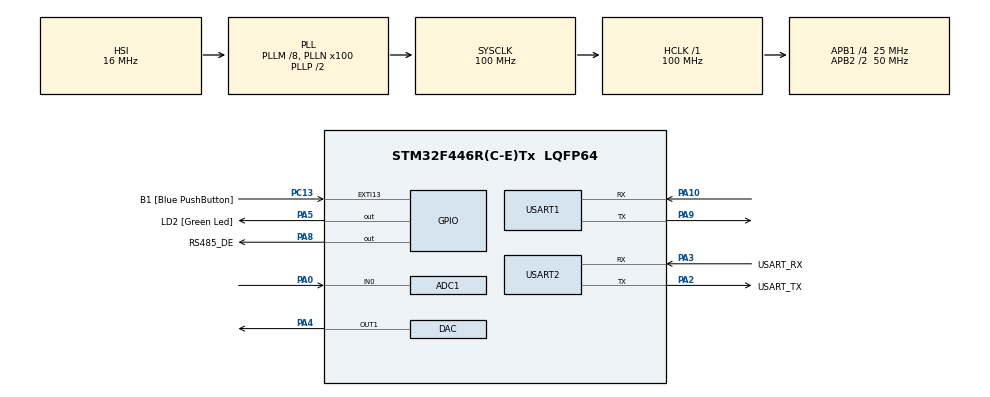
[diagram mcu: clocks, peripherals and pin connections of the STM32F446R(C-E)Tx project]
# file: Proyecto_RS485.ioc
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ADC1.Channel-0\#ChannelRegularConversion=ADC_CHANNEL_0
ADC1.NbrOfConversionFlag=1
ADC1.Rank-0\#ChannelRegularConversion=1
ADC1.SamplingTime-0\#ChannelRegularConversion=ADC_SAMPLETIME_3CYCLES
ADC1.master=1
DAC.DAC_Trigger=DAC_TRIGGER_T2_TRGO
Dma.DAC1.0.Direction=DMA_MEMORY_TO_PERIPH
Dma.DAC1.0.FIFOMode=DMA_FIFOMODE_DISABLE
Dma.DAC1.0.Instance=DMA1_Stream5
Dma.DAC1.0.MemDataAlignment=DMA_MDATAALIGN_WORD
Dma.DAC1.0.MemInc=DMA_MINC_ENABLE
Dma.DAC1.0.Mode=DMA_CIRCULAR
Dma.DAC1.0.PeriphDataAlignment=DMA_PDATAALIGN_WORD
Dma.DAC1.0.PeriphInc=DMA_PINC_DISABLE
Dma.DAC1.0.Priority=DMA_PRIORITY_LOW
Dma.Request0=DAC1
Mcu.Family=STM32F4
Mcu.Name=STM32F446R(C-E)Tx
Mcu.Package=LQFP64
NVIC.DMA1_Stream5_IRQn=true\:0\:0\:false\:false\:true\:false\:true\:true
NVIC.PriorityGroup=NVIC_PRIORITYGROUP_0
NVIC.USART1_IRQn=true\:0\:0\:false\:false\:true\:true\:true\:true
NVIC.USART2_IRQn=true\:0\:0\:false\:false\:true\:true\:true\:true
PA0-WKUP.Signal=ADCx_IN0
PA10.Mode=Asynchronous
PA10.Signal=USART1_RX
PA13.GPIO_Label=TMS
PA13.Mode=Serial_Wire
PA13.Signal=SYS_JTMS-SWDIO
PA14.GPIO_Label=TCK
PA14.Mode=Serial_Wire
PA14.Signal=SYS_JTCK-SWCLK
PA2.GPIO_Label=USART_TX
PA2.Mode=Asynchronous
PA2.Signal=USART2_TX
PA3.GPIO_Label=USART_RX
PA3.Mode=Asynchronous
PA3.Signal=USART2_RX
PA4.Signal=COMP_DAC1_group
PA5.GPIO_Label=LD2 [Green Led]
PA5.Signal=GPIO_Output
PA8.GPIO_Label=RS485_DE
PA8.Signal=GPIO_Output
PA9.Mode=Asynchronous
PA9.Signal=USART1_TX
PB3.GPIO_Label=SWO
PB3.Signal=SYS_JTDO-SWO
PC13.GPIO_Label=B1 [Blue PushButton]
PC13.GPIO_ModeDefaultEXTI=GPIO_MODE_IT_FALLING
PC13.Signal=GPXTI13
PC14-OSC32_IN.Mode=LSE-External-Oscillator
PC14-OSC32_IN.Signal=RCC_OSC32_IN
PC15-OSC32_OUT.Mode=LSE-External-Oscillator
PC15-OSC32_OUT.Signal=RCC_OSC32_OUT
PH0-OSC_IN.Mode=HSE-External-Oscillator
PH0-OSC_IN.Signal=RCC_OSC_IN
PH1-OSC_OUT.Mode=HSE-External-Oscillator
PH1-OSC_OUT.Signal=RCC_OSC_OUT
ProjectManager.HeapSize=0x200
ProjectManager.StackSize=0x400
ProjectManager.TargetToolchain=STM32CubeIDE
RCC.48MHZClocksFreq_Value=84000000
RCC.AHBFreq_Value=100000000
RCC.APB1CLKDivider=RCC_HCLK_DIV4
RCC.APB1Freq_Value=25000000
RCC.APB1TimFreq_Value=50000000
RCC.APB2CLKDivider=RCC_HCLK_DIV2
RCC.APB2Freq_Value=50000000
RCC.APB2TimFreq_Value=100000000
RCC.CortexFreq_Value=100000000
RCC.FLatency-AdvancedSettings=FLASH_LATENCY_3
RCC.HCLKFreq_Value=100000000
RCC.HSE_VALUE=8000000
RCC.HSI_VALUE=16000000
RCC.PLLM=8
RCC.PLLN=100
RCC.SYSCLKFreq_VALUE=100000000
RCC.SYSCLKSource=RCC_SYSCLKSOURCE_PLLCLK
RCC.USBFreq_Value=100000000
RCC.VCOOutputFreq_Value=200000000
SH.ADCx_IN0.0=ADC1_IN0,IN0
SH.COMP_DAC1_group.0=DAC_OUT1,DAC_OUT1
TIM2.AutoReloadPreload=TIM_AUTORELOAD_PRELOAD_ENABLE
TIM2.Period=833
TIM2.TIM_MasterOutputTrigger=TIM_TRGO_UPDATE
USART1.VirtualMode=VM_ASYNC
USART2.VirtualMode=VM_ASYNC
VP_TIM2_VS_ClockSourceINT.Mode=Internal
board=NUCLEO-F446RE

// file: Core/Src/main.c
/* USER CODE BEGIN Header */
/**
  ******************************************************************************
  * @file           : main.c
  * @brief          : Main program body
  ******************************************************************************
  * @attention
  *
  * Copyright (c) 2025 STMicroelectronics.
  * All rights reserved.
  *
  * This software is licensed under terms that can be found in the LICENSE file
  * in the root directory of this software component.
  * If no LICENSE file comes with this software, it is provided AS-IS.
  *
  ******************************************************************************
  */
/* USER CODE END Header */
#include "main.h"

/* USER CODE BEGIN Includes */
#include "math.h"
#include "string.h"
/* USER CODE END Includes */

/* USER CODE BEGIN PD */
#define TAMANIO 128
#define SRC_RS485 1
#define SRC_PYTHON 2
/* USER CODE END PD */

ADC_HandleTypeDef hadc1;

DAC_HandleTypeDef hdac;
DMA_HandleTypeDef hdma_dac1;

TIM_HandleTypeDef htim2;

UART_HandleTypeDef huart1;
UART_HandleTypeDef huart2;

/* USER CODE BEGIN PV */
// ---- UART2 (Python) ----
uint8_t frame_buf_uart2[32];
uint8_t idx_u2 = 0;
uint8_t ready_u2 = 0;
uint8_t rx2_byte;

// ---- UART1 (RS485) ----
uint8_t frame_buf_uart1[32];
uint8_t idx_u1 = 0;
uint8_t ready_u1 = 0;
uint8_t rx1_byte;

// ---- Señales ---------
uint32_t senial_senoidal[TAMANIO];
uint32_t senial_triangular[TAMANIO];
uint32_t senial_diente[TAMANIO];
uint32_t senial_cuadrada[TAMANIO];

uint32_t *signal_ptr = NULL;
uint16_t signal_length = TAMANIO;

uint32_t buffer_escalado[TAMANIO];

uint8_t rs485_rx_byte;   // byte temporal para USART1
uint8_t last_frame_source = 0;// 1 = RS485 (USART1) // 2 = Python (USART2)

/* USER CODE END PV */

void SystemClock_Config(void);
static void MX_GPIO_Init(void);
static void MX_DMA_Init(void);
static void MX_USART2_UART_Init(void);
static void MX_TIM2_Init(void);
static void MX_DAC_Init(void);
static void MX_ADC1_Init(void);
static void MX_USART1_UART_Init(void);

/* USER CODE BEGIN 0 */
uint32_t crc32_calc(const uint8_t *data, uint32_t length)
{
    uint32_t crc = 0xFFFFFFFF;

    for (uint32_t i = 0; i < length; i++)
    {
        crc ^= data[i];
        for (uint32_t j = 0; j < 8; j++)
        {
            if (crc & 1)
                crc = (crc >> 1) ^ 0xEDB88320;
            else
                crc >>= 1;
        }
    }
    return ~crc;
}

void HAL_UART_RxCpltCallback(UART_HandleTypeDef *huart)
{
    // --------------------------------------------------------------------
    // Recepción desde PYTHON (USART2)
    // --------------------------------------------------------------------
    if (huart->Instance == USART2)
    {
        frame_buf_uart2[idx_u2++] = rx2_byte;

        if (idx_u2 >= 32)
        {
            ready_u2 = 1;
            idx_u2 = 0;
        }

        HAL_UART_Receive_IT(&huart2, &rx2_byte, 1);
        return;
    }

    // --------------------------------------------------------------------
    // Recepción desde RS485 (USART1)
    // --------------------------------------------------------------------
    if (huart->Instance == USART1)
    {
        frame_buf_uart1[idx_u1++] = rx1_byte;

        if (idx_u1 >= 32)
        {
            ready_u1 = 1;
            idx_u1 = 0;
        }

        HAL_UART_Receive_IT(&huart1, &rx1_byte, 1);
        return;
    }
}

void crear_senial(void)
{
	uint32_t i;

	for (i = 0 ; i < TAMANIO ; i++)
		senial_senoidal [i] = (float)( sin (2*M_PI*i/TAMANIO) + 1) * (float)(4095 / 2);

	for (i = 0 ; i < TAMANIO/2 ; i++)
		senial_triangular[i] = (uint32_t)(( (float)i / (TAMANIO/2) ) * 4095);
	for (i = TAMANIO/2 ; i < TAMANIO ; i++)
		senial_triangular[i] = (uint32_t)( 4095 - ( (float)(i - TAMANIO/2) / (TAMANIO/2) ) * 4095 );

	for (i = 0 ; i < TAMANIO ; i++)
	    senial_diente[i] = (4095 * i) / TAMANIO;

	for (i = 0 ; i < TAMANIO/2 ; i++)
		senial_cuadrada [i] = (float)(4095);
	for (i = TAMANIO/2 ; i < TAMANIO ; i++)
		senial_cuadrada [i] = (float)(0);

}

uint16_t mapear_amplitud(uint16_t adc_raw)
{
    float A_min = 620.0f;   // 500 mV
    float A_max = 4095.0f;  // 3.3 V

    float A = A_min + (adc_raw / 4095.0f) * (A_max - A_min);

    return (uint16_t)A;
}

void aplicar_amplitud(uint16_t amp)
{
    if (signal_ptr == NULL)
        return;

    for (int i = 0; i < TAMANIO; i++)
    {
        buffer_escalado[i] = (signal_ptr[i] * amp) / 4095;
    }

}

uint16_t leer_pot(void)
{
    HAL_ADC_Start(&hadc1);
    HAL_ADC_PollForConversion(&hadc1, HAL_MAX_DELAY);
    return HAL_ADC_GetValue(&hadc1);      // 0..4095
}

void DAC_set_signal(uint8_t tipo)
{
    switch(tipo)
    {
        case 0:
            HAL_DAC_Stop_DMA(&hdac, DAC_CHANNEL_1);
            signal_ptr = NULL;
            return;

        case 1: signal_ptr = senial_senoidal;  break;
        case 2: signal_ptr = senial_triangular; break;
        case 3: signal_ptr = senial_diente;     break;
        case 4: signal_ptr = senial_cuadrada;   break;
        default:
            return;
    }

    // Aplicar amplitud sobre la nueva señal
    uint16_t pot_raw = leer_pot();
    uint16_t amp = mapear_amplitud(pot_raw);
    aplicar_amplitud(amp);

    HAL_DAC_Stop_DMA(&hdac, DAC_CHANNEL_1);

    HAL_DAC_Start_DMA(&hdac,
                      DAC_CHANNEL_1,
                      buffer_escalado,
                      TAMANIO,
                      DAC_ALIGN_12B_R);
}

void DAC_set_frequency(uint16_t freq_hz)
{
    if (freq_hz < 100)   freq_hz = 100;
    if (freq_hz > 10000) freq_hz = 10000;

    uint32_t tim_clk = 50000000;  // CORRECTO para APB1=HCLK/4

    uint32_t arr = (tim_clk / (freq_hz * TAMANIO)) - 1;

    if (arr > 0xFFFF)
        arr = 0xFFFF;

    __HAL_TIM_DISABLE(&htim2);
    __HAL_TIM_SET_AUTORELOAD(&htim2, arr);
    __HAL_TIM_SET_COUNTER(&htim2, 0);
    __HAL_TIM_ENABLE(&htim2);
}

uint16_t map_adc_to_freq(uint16_t adc)
{
    float f = 100.0f + ((float)adc / 4095.0f) * 9900.0f;

    return (uint16_t)f;  // 100 – 10000 Hz
}

static inline void RS4851_SetTx(void) { HAL_GPIO_WritePin(RS485_DE_GPIO_Port, RS485_DE_Pin, GPIO_PIN_SET); }
static inline void RS4851_SetRx(void) { HAL_GPIO_WritePin(RS485_DE_GPIO_Port, RS485_DE_Pin, GPIO_PIN_RESET); }

/* Envío bloqueante por RS485 usando USART1 y control DE */
void RS4851_SendBlocking(uint8_t *buf, uint16_t len)
{
    // 1) activar driver (transmitir)
    RS4851_SetTx();

    // 2) settle time breve (usado HAL_Delay(1) por simplicidad)
    HAL_Delay(1);

    // 3) transmitir por huart1
    HAL_UART_Transmit(&huart1, buf, len, HAL_MAX_DELAY);

    // 4) esperar TC (Transmission Complete) => último bit enviado
    uint32_t tickstart = HAL_GetTick();
    while (!(__HAL_UART_GET_FLAG(&huart1, UART_FLAG_TC)))
    {
        if ((HAL_GetTick() - tickstart) > 100) break; // timeout por seguridad
    }

    // 5) volver a modo recepción
    RS4851_SetRx();
}

// Responder a quien corresponda
void responder_OK(uint8_t source)
{
    if (source == SRC_PYTHON)
        HAL_UART_Transmit(&huart2, (uint8_t*)"OK\r\n", 4, HAL_MAX_DELAY);

    else
        RS4851_SendBlocking((uint8_t*)"OK\r\n", 4);
}

void responder_ERROR(uint8_t source)
{
    if (source == SRC_PYTHON)
        HAL_UART_Transmit(&huart2, (uint8_t*)"ERROR\r\n", 7, HAL_MAX_DELAY);

    else
        RS4851_SendBlocking((uint8_t*)"ERROR\r\n", 7);
}

void procesar_trama(uint8_t *f, uint8_t source)
{
    // 1. Verificar SOF
    if (f[0] != 0xAA || f[1] != 0x55)
    {
        responder_ERROR(source);
        return;
    }

    uint8_t origen  = f[2];
    uint8_t destino = f[3];
    uint8_t size    = f[4];

    // Validar que la trama esté dirigida al Peer (ID = 0x06)
    if (destino != 0x06)
    {
        responder_ERROR(source);
        return;   // ignorar trama
    }

    if (size < 3 || size > 21)
    {
        responder_ERROR(source);
        return;
    }

    uint8_t *payload = &f[5];

    uint32_t offset_crc = 5 + size;
    uint32_t offset_eof = offset_crc + 4;

    if (offset_eof + 1 >= 32)
    {
        responder_ERROR(source);
        return;
    }

    // EOF
    if (f[offset_eof] != 0x55 || f[offset_eof + 1] != 0xAA)
    {
        responder_ERROR(source);
        return;
    }

    // CRC recibido
    uint32_t crc_rx =
        (f[offset_crc]) |
        (f[offset_crc + 1] << 8) |
        (f[offset_crc + 2] << 16) |
        (f[offset_crc + 3] << 24);

    // CRC calculado
    uint8_t data_crc[3 + 21];
    uint32_t len_crc = 3 + size;

    data_crc[0] = origen;
    data_crc[1] = destino;
    data_crc[2] = size;

    for (int i = 0; i < size; i++)
        data_crc[3 + i] = payload[i];

    uint32_t crc_calc = crc32_calc(data_crc, len_crc);

    if (crc_calc != crc_rx)
    {
        responder_ERROR(source);
        return;
    }

    // ---- TRAMA VÁLIDA ----
    responder_OK(source);

    uint16_t adc_raw = (payload[2] << 8) | payload[1];
    adc_raw &= 0x0FFF;

    uint16_t freq = map_adc_to_freq(adc_raw);
    uint8_t tipo  = payload[0];

    DAC_set_frequency(freq);
    DAC_set_signal(tipo);

    // Obtener amplitud actual (ya calculada)
    uint16_t pot_raw = leer_pot();
    uint16_t amp = mapear_amplitud(pot_raw);
    float amp_volts = (amp / 4095.0f) * 3.3f + 0.5f;

    // 🔵 SIEMPRE enviar resultado a PC (USART2)
    char msg[80];
    snprintf(msg, sizeof(msg),
             "TIPO=%u FREQ=%uHz AMP=%uV\r\n",
             tipo, freq, amp_volts);

    HAL_UART_Transmit(&huart2, (uint8_t*)msg, strlen(msg), HAL_MAX_DELAY);
}

/* USER CODE END 0 */

int main(void)
{

  /* MCU Configuration--------------------------------------------------------*/

  /* Reset of all peripherals, Initializes the Flash interface and the Systick. */
  HAL_Init();

  /* Configure the system clock */
  SystemClock_Config();

  /* Initialize all configured peripherals */
  MX_GPIO_Init();
  MX_DMA_Init();
  MX_USART2_UART_Init();
  MX_TIM2_Init();
  MX_DAC_Init();
  MX_ADC1_Init();
  MX_USART1_UART_Init();
  /* USER CODE BEGIN 2 */
  crear_senial();
  HAL_UART_Receive_IT(&huart2, &rx2_byte, 1);
  RS4851_SetRx();
  HAL_UART_Receive_IT(&huart1, &rx1_byte, 1);

  /* USER CODE END 2 */

  /* Infinite loop */
  /* USER CODE BEGIN WHILE */
  while (1)
  {
	    // ---- Si llegó una trama por Python ----
	    if (ready_u2)
	    {
	        ready_u2 = 0;
	        procesar_trama(frame_buf_uart2, SRC_PYTHON);
	    }

	    // ---- Si llegó una trama por RS485 ----
	    if (ready_u1)
	    {
	        ready_u1 = 0;
	        procesar_trama(frame_buf_uart1, SRC_RS485);
	    }

	    // ---- Actualizar amplitud continuamente ----
	    uint16_t pot_raw = leer_pot();
	    uint16_t amp = mapear_amplitud(pot_raw);
	    aplicar_amplitud(amp);
    /* USER CODE END WHILE */

  }
}

void SystemClock_Config(void)
{
  RCC_OscInitTypeDef RCC_OscInitStruct = {0};
  RCC_ClkInitTypeDef RCC_ClkInitStruct = {0};

  /** Configure the main internal regulator output voltage
  */
  __HAL_RCC_PWR_CLK_ENABLE();
  __HAL_PWR_VOLTAGESCALING_CONFIG(PWR_REGULATOR_VOLTAGE_SCALE3);

  /** Initializes the RCC Oscillators according to the specified parameters
  * in the RCC_OscInitTypeDef structure.
  */
  RCC_OscInitStruct.OscillatorType = RCC_OSCILLATORTYPE_HSI;
  RCC_OscInitStruct.HSIState = RCC_HSI_ON;
  RCC_OscInitStruct.HSICalibrationValue = RCC_HSICALIBRATION_DEFAULT;
  RCC_OscInitStruct.PLL.PLLState = RCC_PLL_ON;
  RCC_OscInitStruct.PLL.PLLSource = RCC_PLLSOURCE_HSI;
  RCC_OscInitStruct.PLL.PLLM = 8;
  RCC_OscInitStruct.PLL.PLLN = 100;
  RCC_OscInitStruct.PLL.PLLP = RCC_PLLP_DIV2;
  RCC_OscInitStruct.PLL.PLLQ = 2;
  RCC_OscInitStruct.PLL.PLLR = 2;
  if (HAL_RCC_OscConfig(&RCC_OscInitStruct) != HAL_OK)
  {
    Error_Handler();
  }

  /** Initializes the CPU, AHB and APB buses clocks
  */
  RCC_ClkInitStruct.ClockType = RCC_CLOCKTYPE_HCLK|RCC_CLOCKTYPE_SYSCLK
                              |RCC_CLOCKTYPE_PCLK1|RCC_CLOCKTYPE_PCLK2;
  RCC_ClkInitStruct.SYSCLKSource = RCC_SYSCLKSOURCE_PLLCLK;
  RCC_ClkInitStruct.AHBCLKDivider = RCC_SYSCLK_DIV1;
  RCC_ClkInitStruct.APB1CLKDivider = RCC_HCLK_DIV4;
  RCC_ClkInitStruct.APB2CLKDivider = RCC_HCLK_DIV2;

  if (HAL_RCC_ClockConfig(&RCC_ClkInitStruct, FLASH_LATENCY_3) != HAL_OK)
  {
    Error_Handler();
  }
}

static void MX_ADC1_Init(void)
{

  ADC_ChannelConfTypeDef sConfig = {0};

  /** Configure the global features of the ADC (Clock, Resolution, Data Alignment and number of conversion)
  */
  hadc1.Instance = ADC1;
  hadc1.Init.ClockPrescaler = ADC_CLOCK_SYNC_PCLK_DIV2;
  hadc1.Init.Resolution = ADC_RESOLUTION_12B;
  hadc1.Init.ScanConvMode = DISABLE;
  hadc1.Init.ContinuousConvMode = DISABLE;
  hadc1.Init.DiscontinuousConvMode = DISABLE;
  hadc1.Init.ExternalTrigConvEdge = ADC_EXTERNALTRIGCONVEDGE_NONE;
  hadc1.Init.ExternalTrigConv = ADC_SOFTWARE_START;
  hadc1.Init.DataAlign = ADC_DATAALIGN_RIGHT;
  hadc1.Init.NbrOfConversion = 1;
  hadc1.Init.DMAContinuousRequests = DISABLE;
  hadc1.Init.EOCSelection = ADC_EOC_SINGLE_CONV;
  if (HAL_ADC_Init(&hadc1) != HAL_OK)
  {
    Error_Handler();
  }

  /** Configure for the selected ADC regular channel its corresponding rank in the sequencer and its sample time.
  */
  sConfig.Channel = ADC_CHANNEL_0;
  sConfig.Rank = 1;
  sConfig.SamplingTime = ADC_SAMPLETIME_3CYCLES;
  if (HAL_ADC_ConfigChannel(&hadc1, &sConfig) != HAL_OK)
  {
    Error_Handler();
  }

}

static void MX_DAC_Init(void)
{

  DAC_ChannelConfTypeDef sConfig = {0};

  /** DAC Initialization
  */
  hdac.Instance = DAC;
  if (HAL_DAC_Init(&hdac) != HAL_OK)
  {
    Error_Handler();
  }

  /** DAC channel OUT1 config
  */
  sConfig.DAC_Trigger = DAC_TRIGGER_T2_TRGO;
  sConfig.DAC_OutputBuffer = DAC_OUTPUTBUFFER_ENABLE;
  if (HAL_DAC_ConfigChannel(&hdac, &sConfig, DAC_CHANNEL_1) != HAL_OK)
  {
    Error_Handler();
  }

}

static void MX_TIM2_Init(void)
{

  TIM_ClockConfigTypeDef sClockSourceConfig = {0};
  TIM_MasterConfigTypeDef sMasterConfig = {0};

  htim2.Instance = TIM2;
  htim2.Init.Prescaler = 0;
  htim2.Init.CounterMode = TIM_COUNTERMODE_UP;
  htim2.Init.Period = 833;
  htim2.Init.ClockDivision = TIM_CLOCKDIVISION_DIV1;
  htim2.Init.AutoReloadPreload = TIM_AUTORELOAD_PRELOAD_ENABLE;
  if (HAL_TIM_Base_Init(&htim2) != HAL_OK)
  {
    Error_Handler();
  }
  sClockSourceConfig.ClockSource = TIM_CLOCKSOURCE_INTERNAL;
  if (HAL_TIM_ConfigClockSource(&htim2, &sClockSourceConfig) != HAL_OK)
  {
    Error_Handler();
  }
  sMasterConfig.MasterOutputTrigger = TIM_TRGO_UPDATE;
  sMasterConfig.MasterSlaveMode = TIM_MASTERSLAVEMODE_DISABLE;
  if (HAL_TIMEx_MasterConfigSynchronization(&htim2, &sMasterConfig) != HAL_OK)
  {
    Error_Handler();
  }

}

static void MX_USART1_UART_Init(void)
{

  huart1.Instance = USART1;
  huart1.Init.BaudRate = 115200;
  huart1.Init.WordLength = UART_WORDLENGTH_8B;
  huart1.Init.StopBits = UART_STOPBITS_1;
  huart1.Init.Parity = UART_PARITY_NONE;
  huart1.Init.Mode = UART_MODE_TX_RX;
  huart1.Init.HwFlowCtl = UART_HWCONTROL_NONE;
  huart1.Init.OverSampling = UART_OVERSAMPLING_16;
  if (HAL_UART_Init(&huart1) != HAL_OK)
  {
    Error_Handler();
  }

}

static void MX_USART2_UART_Init(void)
{

  huart2.Instance = USART2;
  huart2.Init.BaudRate = 115200;
  huart2.Init.WordLength = UART_WORDLENGTH_8B;
  huart2.Init.StopBits = UART_STOPBITS_1;
  huart2.Init.Parity = UART_PARITY_NONE;
  huart2.Init.Mode = UART_MODE_TX_RX;
  huart2.Init.HwFlowCtl = UART_HWCONTROL_NONE;
  huart2.Init.OverSampling = UART_OVERSAMPLING_16;
  if (HAL_UART_Init(&huart2) != HAL_OK)
  {
    Error_Handler();
  }

}

static void MX_DMA_Init(void)
{

  /* DMA controller clock enable */
  __HAL_RCC_DMA1_CLK_ENABLE();

  /* DMA interrupt init */
  /* DMA1_Stream5_IRQn interrupt configuration */
  HAL_NVIC_SetPriority(DMA1_Stream5_IRQn, 0, 0);
  HAL_NVIC_EnableIRQ(DMA1_Stream5_IRQn);

}

static void MX_GPIO_Init(void)
{
  GPIO_InitTypeDef GPIO_InitStruct = {0};

  /* GPIO Ports Clock Enable */
  __HAL_RCC_GPIOC_CLK_ENABLE();
  __HAL_RCC_GPIOH_CLK_ENABLE();
  __HAL_RCC_GPIOA_CLK_ENABLE();
  __HAL_RCC_GPIOB_CLK_ENABLE();

  /*Configure GPIO pin Output Level */
  HAL_GPIO_WritePin(GPIOA, LD2_Pin|RS485_DE_Pin, GPIO_PIN_RESET);

  /*Configure GPIO pin : B1_Pin */
  GPIO_InitStruct.Pin = B1_Pin;
  GPIO_InitStruct.Mode = GPIO_MODE_IT_FALLING;
  GPIO_InitStruct.Pull = GPIO_NOPULL;
  HAL_GPIO_Init(B1_GPIO_Port, &GPIO_InitStruct);

  /*Configure GPIO pins : LD2_Pin RS485_DE_Pin */
  GPIO_InitStruct.Pin = LD2_Pin|RS485_DE_Pin;
  GPIO_InitStruct.Mode = GPIO_MODE_OUTPUT_PP;
  GPIO_InitStruct.Pull = GPIO_NOPULL;
  GPIO_InitStruct.Speed = GPIO_SPEED_FREQ_LOW;
  HAL_GPIO_Init(GPIOA, &GPIO_InitStruct);

}

void Error_Handler(void)
{
  __disable_irq();
  while (1)
  {
  }
}
